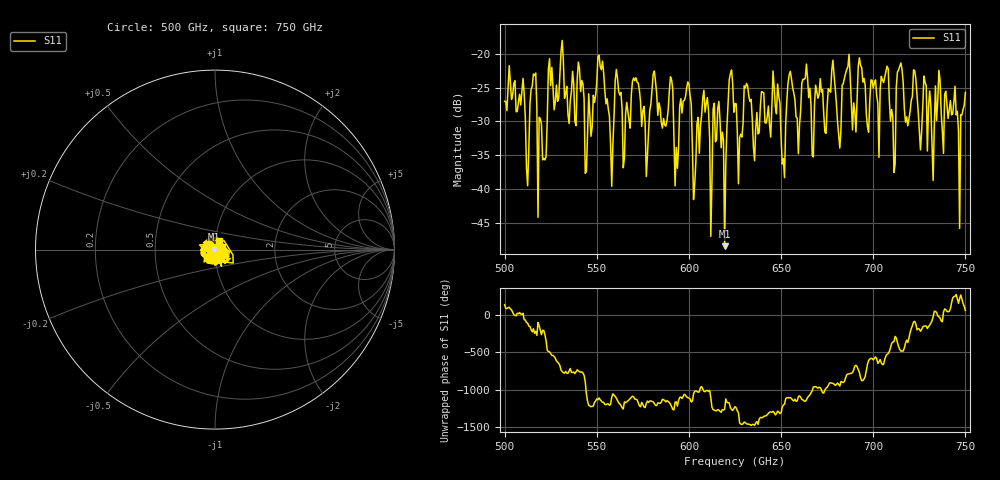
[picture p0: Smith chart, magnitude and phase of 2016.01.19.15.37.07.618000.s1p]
!Created with skrf (http://scikit-rf.org).
# GHz S RI R 50.0
!freq ReS11 ImS11
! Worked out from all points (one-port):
!   401 points, 500 GHz to 750 GHz, reference 50 ohm
!   lowest |S11| = -48.5 dB at 619.4 GHz (marker M1), VSWR 1.01, Z = 49.6 + j0.0273 ohm
!   |S11| at or under -10 dB: start of sweep to end of sweep
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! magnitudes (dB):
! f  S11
! 500 GHz  -27.0
! 512.5 GHz  -39.5
! 515.6 GHz  -23.0
! 521.9 GHz  -35.7
! 525 GHz  -24.7
! 531.2 GHz  -18.0
! 545 GHz  -32.0
! 551.9 GHz  -21.9
! 557.5 GHz  -33.4
! 562.5 GHz  -26.1
! 577.5 GHz  -35.0
! 590 GHz  -23.4
! 593.8 GHz  -36.9
! 599.4 GHz  -24.2
! 603.1 GHz  -39.3
! 608.8 GHz  -28.6
! 619.4 GHz  -48.5
! 622.5 GHz  -22.9
! 625 GHz  -27.3
! 646.9 GHz  -27.8
! 651.2 GHz  -35.5
! 656.2 GHz  -25.0
! 687.5 GHz  -23.4
! 706.9 GHz  -22.6
! 710.6 GHz  -29.4
! 714.4 GHz  -21.8
! 718.8 GHz  -30.6
! 750 GHz  -25.7
